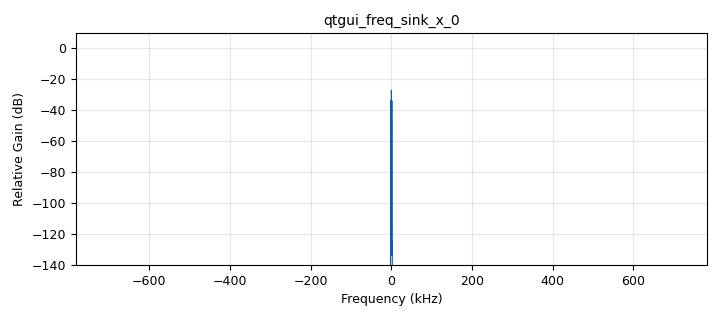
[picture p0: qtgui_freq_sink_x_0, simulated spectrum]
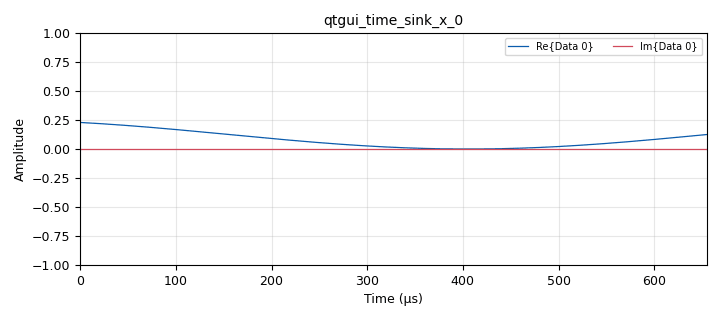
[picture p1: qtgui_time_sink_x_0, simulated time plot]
options:
  parameters:
    author: labcomu
    copyright: UIS
    generate_options: qt_gui
    id: Modulador_de_amplitud
    output_language: python
    title: Modulador de amplitud
  states: {}

blocks:
- name: Ac
  id: variable_qtgui_range
  parameters:
    label: Amplitud Portadora (Ac)
    start: '0'
    step: '1e-3'
    stop: '1'
    value: '125e-3'
  states: {}
- name: Am
  id: variable_qtgui_range
  parameters:
    label: Amplitud del mensaje
    start: '0'
    step: '100e-3'
    stop: '4'
    value: '1'
  states: {}
- name: B
  id: variable_qtgui_range
  parameters:
    label: Cambio de banda
    start: '-1'
    step: '2'
    stop: '1'
    value: '1'
  states: {}
- name: GTX
  id: variable_qtgui_range
  parameters:
    label: Ganancia del transmisor
    start: '0'
    step: '1'
    stop: '30'
    value: '0'
  states: {}
- name: fc
  id: variable_qtgui_range
  parameters:
    label: Frecuencia portadora
    start: 50e6
    step: 1e6
    stop: 02.2e9
    value: 50e6
  states: {}
- name: fm
  id: variable_qtgui_range
  parameters:
    label: Frecuencia de mensaje
    start: '300'
    step: '100'
    stop: 'samp_rate/4 '
    value: 1e3
  states: {}
- name: ka
  id: variable_qtgui_range
  parameters:
    label: ka
    start: '0'
    step: '0.1'
    stop: '2'
    value: '1'
  states: {}
- name: samp_rate
  id: variable
  parameters:
    value: 12500000/8
  states: {}
- name: ModuladorAM_B1B_G5_0
  id: ModuladorAM_B1B_G5
  parameters:
    Ac: '1'
    ka: '1'
  states: {state: disabled}
- name: analog_sig_source_x_0
  id: analog_sig_source_x
  parameters:
    amp: Am
    freq: fm
    offset: '0'
    phase: '0'
    samp_rate: samp_rate
    type: float
    waveform: analog.GR_SIN_WAVE
  states: {}
- name: blocks_add_const_vxx_0
  id: blocks_add_const_vxx
  parameters:
    const: '1'
    type: float
  states: {}
- name: blocks_float_to_complex_0
  id: blocks_float_to_complex
  parameters: {}
  states: {}
- name: blocks_multiply_const_vxx_0
  id: blocks_multiply_const_vxx
  parameters:
    const: ka
    type: float
  states: {}
- name: blocks_multiply_const_vxx_1
  id: blocks_multiply_const_vxx
  parameters:
    const: Ac
    type: complex
  states: {}
- name: blocks_null_source_0
  id: blocks_null_source
  parameters:
    type: float
  states: {}
- name: qtgui_freq_sink_x_0
  id: qtgui_freq_sink_x
  parameters:
    bw: samp_rate
    fc: '0'
    fftsize: '16384'
    type: complex
  states: {}
- name: qtgui_time_sink_x_0
  id: qtgui_time_sink_x
  parameters:
    size: '1024'
    srate: samp_rate
    type: complex
  states: {}
- name: uhd_usrp_sink_0
  id: uhd_usrp_sink
  parameters:
    ant0: '"TX/RX"'
    center_freq0: fc
    gain0: GTX
    samp_rate: samp_rate
    sync: pc_clock
    type: fc32
  states: {}

connections:
- [ModuladorAM_B1B_G5_0, '0', qtgui_freq_sink_x_0, '0']
- [ModuladorAM_B1B_G5_0, '0', qtgui_time_sink_x_0, '0']
- [ModuladorAM_B1B_G5_0, '0', uhd_usrp_sink_0, '0']
- [analog_sig_source_x_0, '0', ModuladorAM_B1B_G5_0, '0']
- [analog_sig_source_x_0, '0', blocks_multiply_const_vxx_0, '0']
- [blocks_add_const_vxx_0, '0', blocks_float_to_complex_0, '0']
- [blocks_float_to_complex_0, '0', blocks_multiply_const_vxx_1, '0']
- [blocks_multiply_const_vxx_0, '0', blocks_add_const_vxx_0, '0']
- [blocks_multiply_const_vxx_1, '0', qtgui_freq_sink_x_0, '0']
- [blocks_multiply_const_vxx_1, '0', qtgui_time_sink_x_0, '0']
- [blocks_multiply_const_vxx_1, '0', uhd_usrp_sink_0, '0']
- [blocks_null_source_0, '0', blocks_float_to_complex_0, '1']

metadata:
  file_format: 1
  grc_version: v3.11.0.0git-810-g1ecb8565
